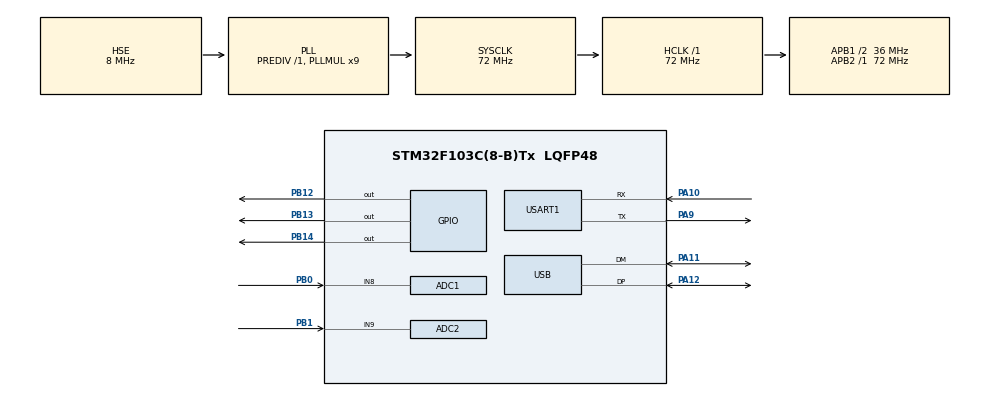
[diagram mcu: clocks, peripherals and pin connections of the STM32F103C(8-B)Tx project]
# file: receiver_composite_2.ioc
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ADC1.Channel-0\#ChannelRegularConversion=ADC_CHANNEL_8
ADC1.NbrOfConversionFlag=1
ADC1.Rank-0\#ChannelRegularConversion=1
ADC1.SamplingTime-0\#ChannelRegularConversion=ADC_SAMPLETIME_1CYCLE_5
ADC1.master=1
ADC2.Channel-0\#ChannelRegularConversion=ADC_CHANNEL_9
ADC2.NbrOfConversionFlag=1
ADC2.Rank-0\#ChannelRegularConversion=1
ADC2.SamplingTime-0\#ChannelRegularConversion=ADC_SAMPLETIME_1CYCLE_5
IWDG.Prescaler=IWDG_PRESCALER_32
IWDG.Reload=1299
Mcu.Family=STM32F1
Mcu.Name=STM32F103C(8-B)Tx
Mcu.Package=LQFP48
NVIC.PriorityGroup=NVIC_PRIORITYGROUP_4
NVIC.TIM2_IRQn=true\:1\:0\:true\:false\:true\:true\:true\:true
NVIC.USART1_IRQn=true\:0\:0\:false\:false\:true\:true\:true\:true
NVIC.USB_LP_CAN1_RX0_IRQn=true\:0\:0\:false\:false\:true\:false\:true\:true
PA10.Mode=Asynchronous
PA10.Signal=USART1_RX
PA11.Mode=Device
PA11.Signal=USB_DM
PA12.Mode=Device
PA12.Signal=USB_DP
PA13.Mode=Serial_Wire
PA13.Signal=SYS_JTMS-SWDIO
PA14.Mode=Serial_Wire
PA14.Signal=SYS_JTCK-SWCLK
PA9.Mode=Asynchronous
PA9.Signal=USART1_TX
PB0.Signal=ADCx_IN8
PB1.Signal=ADCx_IN9
PB12.Signal=GPIO_Output
PB13.Signal=GPIO_Output
PB14.Signal=GPIO_Output
PD0-OSC_IN.Mode=HSE-External-Oscillator
PD0-OSC_IN.Signal=RCC_OSC_IN
PD1-OSC_OUT.Mode=HSE-External-Oscillator
PD1-OSC_OUT.Signal=RCC_OSC_OUT
ProjectManager.HeapSize=0x200
ProjectManager.StackSize=0x400
ProjectManager.TargetToolchain=STM32CubeIDE
RCC.ADCPresc=RCC_ADCPCLK2_DIV6
RCC.AHBFreq_Value=72000000
RCC.APB1CLKDivider=RCC_HCLK_DIV2
RCC.APB1Freq_Value=36000000
RCC.APB1TimFreq_Value=72000000
RCC.APB2Freq_Value=72000000
RCC.APB2TimFreq_Value=72000000
RCC.HCLKFreq_Value=72000000
RCC.PLLMUL=RCC_PLL_MUL9
RCC.SYSCLKFreq_VALUE=72000000
RCC.SYSCLKSource=RCC_SYSCLKSOURCE_PLLCLK
RCC.USBFreq_Value=48000000
RCC.USBPrescaler=RCC_USBCLKSOURCE_PLL_DIV1_5
SH.ADCx_IN8.0=ADC1_IN8,IN8
SH.ADCx_IN9.0=ADC2_IN9,IN9
TIM2.Period=1000
TIM2.Prescaler=7199
USART1.VirtualMode=VM_ASYNC
USB_DEVICE.CLASS_NAME_FS=CDC
USB_DEVICE.VirtualMode=Cdc
USB_DEVICE.VirtualModeFS=Cdc_FS
VP_CRC_VS_CRC.Mode=CRC_Activate
VP_IWDG_VS_IWDG.Mode=IWDG_Activate
VP_TIM2_VS_ClockSourceINT.Mode=Internal
VP_USB_DEVICE_VS_USB_DEVICE_CDC_FS.Mode=CDC_FS
board=custom

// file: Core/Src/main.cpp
/* USER CODE BEGIN Header */
/**
  ******************************************************************************
  * @file           : main.c
  * @brief          : Main program body
  ******************************************************************************
  * @attention
  *
  * Copyright (c) 2023 STMicroelectronics.
  * All rights reserved.
  *
  * This software is licensed under terms that can be found in the LICENSE file
  * in the root directory of this software component.
  * If no LICENSE file comes with this software, it is provided AS-IS.
  *
  ******************************************************************************
  */
/* USER CODE END Header */
#include "main.h"
#include "usb_device.h"

/* USER CODE BEGIN Includes */
#include "usbd_cdc_if.h"
#include "crypto.h"
#include "stdio.h"
#include <string>
#include "rs.hpp"
using namespace std;

#include <stdbool.h>
#include <stdlib.h>
#include <stdint.h>
/* USER CODE END Includes */

/* USER CODE BEGIN PD */
//#define USB_TX_BUF_SIZE 1024 // Can Transmit max of 256 chars over USB
#define USB_TX_BUF_SIZE 129 // Can Transmit max of 256 chars over USB
#define UART_RX_BUF_SIZE 1  // Receive each UART byte one at a time

#define AES_BLOCK_LENGTH 8
#define PLAINTEXT_LENGTH  16
#define ECC_LENGTH 12
#define RS_MESSAGE_LENGTH 129
/* USER CODE END PD */

ADC_HandleTypeDef hadc1;
ADC_HandleTypeDef hadc2;

CRC_HandleTypeDef hcrc;

IWDG_HandleTypeDef hiwdg;

TIM_HandleTypeDef htim2;

UART_HandleTypeDef huart1;

/* USER CODE BEGIN PV */
char usbTxBuf[USB_TX_BUF_SIZE];
uint8_t UART1_rxBuffer[UART_RX_BUF_SIZE] = {0};

uint32_t adc_reading;
int agc_lvl;

//vars for decoding
uint8_t uart5_byte_1;
uint8_t uart5_byte_2;
uint8_t byte_out;
uint8_t byte_out_nibble_1;
uint8_t byte_out_nibble_2;
uint8_t uart_byte_dummy;

uint8_t current_byte;
uint8_t prev_byte;

uint8_t AES_Key[CRL_AES128_KEY] =
{
	0x00, 0x01, 0x02, 0x03, 0x04, 0x05, 0x06, 0x07,
	0x08, 0x09, 0x0a, 0x0b, 0x0c, 0x0d, 0x0e, 0x0f
};

bool timing_correct_flag;
bool start_decryption_flag = false;

uint8_t count = 1;
int error_code;

int rs_encoded_count = 0;
uint8_t manchester_encoded_buff[2*(RS_MESSAGE_LENGTH + ECC_LENGTH)];
uint8_t manchester_encoded_buff_cpy[2*(RS_MESSAGE_LENGTH + ECC_LENGTH)];
uint8_t rs_encoded_buff[RS_MESSAGE_LENGTH + ECC_LENGTH];

// Reed Solomon decoding variables
char reed_solomon_repaired[RS_MESSAGE_LENGTH];

// AES Decoding variables
uint8_t output_split_ciphertext[8][PLAINTEXT_LENGTH];  // Input plaintext split into 16 byte chunks
uint8_t output_split_plaintext[8][PLAINTEXT_LENGTH];  // Input plaintext split into 16 byte chunks

char output_message[RS_MESSAGE_LENGTH];
uint32_t output_message_length = 0;

RS::ReedSolomon<RS_MESSAGE_LENGTH, ECC_LENGTH> rs; 		        // Reed solomon encoder data structure

int indexing_dummy = 0;

/* USER CODE END PV */

void SystemClock_Config(void);
static void MX_GPIO_Init(void);
static void MX_IWDG_Init(void);
static void MX_ADC1_Init(void);
static void MX_ADC2_Init(void);
static void MX_CRC_Init(void);
static void MX_USART1_UART_Init(void);
static void MX_TIM2_Init(void);
/* USER CODE BEGIN PFP */
void DecodeManchester(void);
string DecryptData(void);
void CombineAES2DArray(uint8_t input_ciphertext[][PLAINTEXT_LENGTH], char output_str[]);
int32_t AESDecrypt2DArray(uint8_t input_ciphertext[][PLAINTEXT_LENGTH], uint8_t output_plaintext[][PLAINTEXT_LENGTH]);

//void SplitStringForAESDecoding(string input_str, uint8_t output_ptr[][PLAINTEXT_LENGTH]);
void SplitStringForAESDecoding(char input_str[], uint8_t output_ptr[][PLAINTEXT_LENGTH]);

int32_t STM32_AES_ECB_Decrypt(uint8_t* InputMessage,
                              uint32_t InputMessageLength,
                              uint8_t *AES256_Key,
                              uint8_t  *OutputMessage,
                              uint32_t *OutputMessageLength);

void SetAGCLevel(int lvl);
void UpdateAGC(uint32_t adc_val_in);
void ResetGlobalVars(void);
/* USER CODE END PFP */

int main(void)
{

  /* MCU Configuration--------------------------------------------------------*/

  /* Reset of all peripherals, Initializes the Flash interface and the Systick. */
  HAL_Init();

  /* Configure the system clock */
  SystemClock_Config();

  /* USER CODE BEGIN SysInit */
  __CRC_CLK_ENABLE();
  /* USER CODE END SysInit */

  /* Initialize all configured peripherals */
  MX_GPIO_Init();
  MX_USB_DEVICE_Init();
  MX_IWDG_Init();
  MX_ADC1_Init();
  MX_ADC2_Init();
  MX_CRC_Init();
  MX_USART1_UART_Init();
  MX_TIM2_Init();
  /* USER CODE BEGIN 2 */
  HAL_UART_Receive_IT(&huart1, UART1_rxBuffer, UART_RX_BUF_SIZE);
  HAL_TIM_Base_Start_IT(&htim2);

  //ResetGlobalVars();

  HAL_Delay(50);

  sprintf(usbTxBuf, "IWDG Reset");
  CDC_Transmit_FS((uint8_t *) usbTxBuf, strlen(usbTxBuf));

  if(HAL_IWDG_Refresh(&hiwdg) != HAL_OK)
  {
		sprintf(usbTxBuf, "IWDG Error");
		CDC_Transmit_FS((uint8_t *) usbTxBuf, strlen(usbTxBuf));

		Error_Handler();
  }
  /* USER CODE END 2 */

  /* Infinite loop */
  /* USER CODE BEGIN WHILE */
  start_decryption_flag = false;
  while (1)
  {
	  if(start_decryption_flag == true)
	  {
		  DecodeManchester();
		  DecryptData();

		  if((output_message[0] == 'L') && (output_message[1] == 'i') && (output_message[2] == 'F'))
		  {
			  //if(rs_encoded_count < 125)
			  if(error_code == 0)
			  {
			  sprintf(usbTxBuf, "%s", output_message);
			  CDC_Transmit_FS((uint8_t *) usbTxBuf, strlen(usbTxBuf));
			  }
		  }

		  //sprintf(usbTxBuf, "\n\rError Code: %d\n\r", error_code);
		  //CDC_Transmit_FS((uint8_t *) usbTxBuf, strlen(usbTxBuf));

		  for(int i = 0; i < RS_MESSAGE_LENGTH; i++) // reset output buffer array
		  {
			  output_message[i] = 0x00;
		  }

/*
		  for(int i = 0; i < 2*(RS_MESSAGE_LENGTH + ECC_LENGTH); i++)
		  {
			  manchester_encoded_buff[i] = 0x00;
		  }
*/

		  start_decryption_flag = false;

		  while(start_decryption_flag == false)
		  {
			  indexing_dummy++;
		  }
	  }
    /* USER CODE END WHILE */

  }
}

void SystemClock_Config(void)
{
  RCC_OscInitTypeDef RCC_OscInitStruct = {0};
  RCC_ClkInitTypeDef RCC_ClkInitStruct = {0};
  RCC_PeriphCLKInitTypeDef PeriphClkInit = {0};

  /** Initializes the RCC Oscillators according to the specified parameters
  * in the RCC_OscInitTypeDef structure.
  */
  RCC_OscInitStruct.OscillatorType = RCC_OSCILLATORTYPE_LSI|RCC_OSCILLATORTYPE_HSE;
  RCC_OscInitStruct.HSEState = RCC_HSE_ON;
  RCC_OscInitStruct.HSEPredivValue = RCC_HSE_PREDIV_DIV1;
  RCC_OscInitStruct.HSIState = RCC_HSI_ON;
  RCC_OscInitStruct.LSIState = RCC_LSI_ON;
  RCC_OscInitStruct.PLL.PLLState = RCC_PLL_ON;
  RCC_OscInitStruct.PLL.PLLSource = RCC_PLLSOURCE_HSE;
  RCC_OscInitStruct.PLL.PLLMUL = RCC_PLL_MUL9;
  if (HAL_RCC_OscConfig(&RCC_OscInitStruct) != HAL_OK)
  {
    Error_Handler();
  }

  /** Initializes the CPU, AHB and APB buses clocks
  */
  RCC_ClkInitStruct.ClockType = RCC_CLOCKTYPE_HCLK|RCC_CLOCKTYPE_SYSCLK
                              |RCC_CLOCKTYPE_PCLK1|RCC_CLOCKTYPE_PCLK2;
  RCC_ClkInitStruct.SYSCLKSource = RCC_SYSCLKSOURCE_PLLCLK;
  RCC_ClkInitStruct.AHBCLKDivider = RCC_SYSCLK_DIV1;
  RCC_ClkInitStruct.APB1CLKDivider = RCC_HCLK_DIV2;
  RCC_ClkInitStruct.APB2CLKDivider = RCC_HCLK_DIV1;

  if (HAL_RCC_ClockConfig(&RCC_ClkInitStruct, FLASH_LATENCY_2) != HAL_OK)
  {
    Error_Handler();
  }
  PeriphClkInit.PeriphClockSelection = RCC_PERIPHCLK_ADC|RCC_PERIPHCLK_USB;
  PeriphClkInit.AdcClockSelection = RCC_ADCPCLK2_DIV6;
  PeriphClkInit.UsbClockSelection = RCC_USBCLKSOURCE_PLL_DIV1_5;
  if (HAL_RCCEx_PeriphCLKConfig(&PeriphClkInit) != HAL_OK)
  {
    Error_Handler();
  }
}

static void MX_ADC1_Init(void)
{

  ADC_ChannelConfTypeDef sConfig = {0};

  /** Common config
  */
  hadc1.Instance = ADC1;
  hadc1.Init.ScanConvMode = ADC_SCAN_DISABLE;
  hadc1.Init.ContinuousConvMode = DISABLE;
  hadc1.Init.DiscontinuousConvMode = DISABLE;
  hadc1.Init.ExternalTrigConv = ADC_SOFTWARE_START;
  hadc1.Init.DataAlign = ADC_DATAALIGN_RIGHT;
  hadc1.Init.NbrOfConversion = 1;
  if (HAL_ADC_Init(&hadc1) != HAL_OK)
  {
    Error_Handler();
  }

  /** Configure Regular Channel
  */
  sConfig.Channel = ADC_CHANNEL_8;
  sConfig.Rank = ADC_REGULAR_RANK_1;
  sConfig.SamplingTime = ADC_SAMPLETIME_1CYCLE_5;
  if (HAL_ADC_ConfigChannel(&hadc1, &sConfig) != HAL_OK)
  {
    Error_Handler();
  }

}

static void MX_ADC2_Init(void)
{

  ADC_ChannelConfTypeDef sConfig = {0};

  /** Common config
  */
  hadc2.Instance = ADC2;
  hadc2.Init.ScanConvMode = ADC_SCAN_DISABLE;
  hadc2.Init.ContinuousConvMode = DISABLE;
  hadc2.Init.DiscontinuousConvMode = DISABLE;
  hadc2.Init.ExternalTrigConv = ADC_SOFTWARE_START;
  hadc2.Init.DataAlign = ADC_DATAALIGN_RIGHT;
  hadc2.Init.NbrOfConversion = 1;
  if (HAL_ADC_Init(&hadc2) != HAL_OK)
  {
    Error_Handler();
  }

  /** Configure Regular Channel
  */
  sConfig.Channel = ADC_CHANNEL_9;
  sConfig.Rank = ADC_REGULAR_RANK_1;
  sConfig.SamplingTime = ADC_SAMPLETIME_1CYCLE_5;
  if (HAL_ADC_ConfigChannel(&hadc2, &sConfig) != HAL_OK)
  {
    Error_Handler();
  }

}

static void MX_CRC_Init(void)
{

  hcrc.Instance = CRC;
  if (HAL_CRC_Init(&hcrc) != HAL_OK)
  {
    Error_Handler();
  }

}

static void MX_IWDG_Init(void)
{

  hiwdg.Instance = IWDG;
  hiwdg.Init.Prescaler = IWDG_PRESCALER_32;
  hiwdg.Init.Reload = 1299;
  if (HAL_IWDG_Init(&hiwdg) != HAL_OK)
  {
    Error_Handler();
  }

}

static void MX_TIM2_Init(void)
{

  TIM_ClockConfigTypeDef sClockSourceConfig = {0};
  TIM_MasterConfigTypeDef sMasterConfig = {0};

  htim2.Instance = TIM2;
  htim2.Init.Prescaler = 7199;
  htim2.Init.CounterMode = TIM_COUNTERMODE_UP;
  htim2.Init.Period = 1000;
  htim2.Init.ClockDivision = TIM_CLOCKDIVISION_DIV1;
  htim2.Init.AutoReloadPreload = TIM_AUTORELOAD_PRELOAD_DISABLE;
  if (HAL_TIM_Base_Init(&htim2) != HAL_OK)
  {
    Error_Handler();
  }
  sClockSourceConfig.ClockSource = TIM_CLOCKSOURCE_INTERNAL;
  if (HAL_TIM_ConfigClockSource(&htim2, &sClockSourceConfig) != HAL_OK)
  {
    Error_Handler();
  }
  sMasterConfig.MasterOutputTrigger = TIM_TRGO_RESET;
  sMasterConfig.MasterSlaveMode = TIM_MASTERSLAVEMODE_DISABLE;
  if (HAL_TIMEx_MasterConfigSynchronization(&htim2, &sMasterConfig) != HAL_OK)
  {
    Error_Handler();
  }

}

static void MX_USART1_UART_Init(void)
{

  huart1.Instance = USART1;
  huart1.Init.BaudRate = 115200;
  huart1.Init.WordLength = UART_WORDLENGTH_8B;
  huart1.Init.StopBits = UART_STOPBITS_1;
  huart1.Init.Parity = UART_PARITY_NONE;
  huart1.Init.Mode = UART_MODE_TX_RX;
  huart1.Init.HwFlowCtl = UART_HWCONTROL_NONE;
  huart1.Init.OverSampling = UART_OVERSAMPLING_16;
  if (HAL_UART_Init(&huart1) != HAL_OK)
  {
    Error_Handler();
  }

}

static void MX_GPIO_Init(void)
{
  GPIO_InitTypeDef GPIO_InitStruct = {0};

  /* GPIO Ports Clock Enable */
  __HAL_RCC_GPIOD_CLK_ENABLE();
  __HAL_RCC_GPIOB_CLK_ENABLE();
  __HAL_RCC_GPIOA_CLK_ENABLE();

  /*Configure GPIO pin Output Level */
  HAL_GPIO_WritePin(GPIOB, GPIO_PIN_12|GPIO_PIN_13|GPIO_PIN_14, GPIO_PIN_RESET);

  /*Configure GPIO pins : PB12 PB13 PB14 */
  GPIO_InitStruct.Pin = GPIO_PIN_12|GPIO_PIN_13|GPIO_PIN_14;
  GPIO_InitStruct.Mode = GPIO_MODE_OUTPUT_PP;
  GPIO_InitStruct.Pull = GPIO_NOPULL;
  GPIO_InitStruct.Speed = GPIO_SPEED_FREQ_LOW;
  HAL_GPIO_Init(GPIOB, &GPIO_InitStruct);

}

/* USER CODE BEGIN 4 */
void ResetGlobalVars(void)
{
	for(int i = 0; i < USB_TX_BUF_SIZE; i++)
	{
		usbTxBuf[i] = 0x00;
	}

	for(int i = 0; i < UART_RX_BUF_SIZE; i++)
	{
		UART1_rxBuffer[i] = 0x00;
	}

	count = 1;

	uart5_byte_1 = 0x00;
	uart5_byte_2 = 0x00;
	byte_out = 0x00;
	byte_out_nibble_1 = 0x00;
	byte_out_nibble_2 = 0x00;
	uart_byte_dummy = 0x00;

	current_byte = 0x77;
	prev_byte = 0x77;

	timing_correct_flag = false;

	rs_encoded_count = 0;

	for(int i = 0; i < 2*(RS_MESSAGE_LENGTH + ECC_LENGTH); i++)
	{
		manchester_encoded_buff[i] = 0x00;
		manchester_encoded_buff_cpy[i] = 0x00;
	}

	for(int i = 0; i < RS_MESSAGE_LENGTH + ECC_LENGTH; i++)
	{

		rs_encoded_buff[i] = 0x00;
	}

	start_decryption_flag = false;

	output_message_length = 0;

	error_code = 0;

	for(int i = 0; i < RS_MESSAGE_LENGTH; i++)
	{
		reed_solomon_repaired[i] = 0x00;
	}

	for(int i = 0; i < AES_BLOCK_LENGTH; i++)
	{
		for(int j = 0; j < PLAINTEXT_LENGTH; j++)
		{
			output_split_ciphertext[i][j] = 0x00;
			output_split_plaintext[i][j] = 0x00;
		}
	}

	for(int i = 0; i < RS_MESSAGE_LENGTH; i++)
	{
		output_message[i] = 0x00;
	}
	adc_reading = 0;
	agc_lvl = 0;
}

void UpdateAGC(uint32_t adc_val_in)
{
	//ORIGINAL NUMBERS THAT WORK: 900 -> 1800

	//if((adc_val_in > 1800) && (agc_lvl > 0)) //DC value is too high -> decrease gain
	if((adc_val_in > 2200) && (agc_lvl > 0)) //DC value is too high -> decrease gain
	{
		agc_lvl--;
		SetAGCLevel(agc_lvl);
	}
	//else if((adc_val_in < 1050) && (agc_lvl < 4)) //DC value is too low -> increase gain
	//else if((adc_val_in < 1250) && (agc_lvl < 4)) //DC value is too low -> increase gain
	else if((adc_val_in < 1250) && (agc_lvl < 3)) //DC value is too low -> increase gain
	{
		agc_lvl++;
		SetAGCLevel(agc_lvl);
	}

	//sprintf(usbTxBuf, "\n\rL%d\n\r", agc_lvl);
	//CDC_Transmit_FS((uint8_t *) usbTxBuf, strlen(usbTxBuf));
}

void SetAGCLevel(int lvl)
{
	if(lvl == 1) //Y0
	{
		HAL_GPIO_WritePin(GPIOB, GPIO_PIN_12|GPIO_PIN_13|GPIO_PIN_14, GPIO_PIN_RESET);
	}
	else if(lvl == 2) //Y1
	{
		HAL_GPIO_WritePin(GPIOB, GPIO_PIN_12|GPIO_PIN_13, GPIO_PIN_RESET);
		HAL_GPIO_WritePin(GPIOB, GPIO_PIN_14, GPIO_PIN_SET);
	}
	else if(lvl == 3) //Y2
	{
		HAL_GPIO_WritePin(GPIOB, GPIO_PIN_12|GPIO_PIN_14, GPIO_PIN_RESET);
		HAL_GPIO_WritePin(GPIOB, GPIO_PIN_13, GPIO_PIN_SET);
	}
	else if(lvl == 4) //Y4
	{
		HAL_GPIO_WritePin(GPIOB, GPIO_PIN_13|GPIO_PIN_14, GPIO_PIN_RESET);
		HAL_GPIO_WritePin(GPIOB, GPIO_PIN_12, GPIO_PIN_SET);
	}
	else if(lvl == 5) //Y6
	{
		HAL_GPIO_WritePin(GPIOB, GPIO_PIN_14, GPIO_PIN_RESET);
		HAL_GPIO_WritePin(GPIOB, GPIO_PIN_12|GPIO_PIN_13, GPIO_PIN_SET);
	}
	else //Y3 (Lowest gain level)
	{
		HAL_GPIO_WritePin(GPIOB, GPIO_PIN_13|GPIO_PIN_14, GPIO_PIN_SET);
		HAL_GPIO_WritePin(GPIOB, GPIO_PIN_12, GPIO_PIN_RESET);
	}
}

void DecodeManchester(void)
{
	memcpy(manchester_encoded_buff_cpy, manchester_encoded_buff, sizeof(manchester_encoded_buff_cpy));

	/*
	for(int i = 0; i < 2*(RS_MESSAGE_LENGTH + ECC_LENGTH); i++)
	{
		manchester_encoded_buff[i] = 0x00;
	}
	*/

	byte_out = 0x00;
	byte_out_nibble_1 = 0x00;
	byte_out_nibble_2 = 0x00;

	//decoding manchester
	for(int i = 0; i < RS_MESSAGE_LENGTH + ECC_LENGTH; i++)
	{
		byte_out = 0x00;
		byte_out_nibble_1 = 0x00;
		byte_out_nibble_2 = 0x00;

		uart5_byte_1 = manchester_encoded_buff_cpy[2*i];
		uart5_byte_2 = manchester_encoded_buff_cpy[2*i + 1];

		if((uart5_byte_1 & 0xC0) == 0x40) // 8th bit is rising edge = one
		{
			byte_out_nibble_1 = byte_out_nibble_1 | 0x08;     // Turn 8th bit to 1
		}
		if((uart5_byte_1 & 0x30) == 0x10) // 7th bit is rising edge = one
		{
			byte_out_nibble_1 = byte_out_nibble_1 | 0x04;     // Turn 7th bit to 1
		}
		if((uart5_byte_1 & 0x0C) == 0x04) // 6th bit is rising edge = one
		{
			byte_out_nibble_1 = byte_out_nibble_1 | 0x02;     // Turn 6th bit to 1
		}
		if((uart5_byte_1 & 0x03) == 0x01) // 5th bit is rising edge = one
		{
			byte_out_nibble_1 = byte_out_nibble_1 | 0x01;     // Turn 5th bit to 1
		}

		if((uart5_byte_2 & 0xC0) == 0x40) // 4th bit is rising edge = one
		{
			byte_out_nibble_2 = byte_out_nibble_2 | 0x08;     // Turn 4th bit to 1
		}
		if((uart5_byte_2 & 0x30) == 0x10) // 3rd bit is rising edge = one
		{
			byte_out_nibble_2 = byte_out_nibble_2 | 0x04;     // Turn 3rd bit to 1
		}
		if((uart5_byte_2 & 0x0C) == 0x04) // 2nd bit is rising edge = one
		{
			byte_out_nibble_2 = byte_out_nibble_2 | 0x02;     // Turn 2nd bit to 1
		}
		if((uart5_byte_2 & 0x03) == 0x01) // 1st bit is rising edge = one
		{
			byte_out_nibble_2 = byte_out_nibble_2 | 0x01;     // Turn 1st bit to 1
		}

		rs_encoded_buff[i] = (byte_out_nibble_1<<4) | byte_out_nibble_2;
	}
}

string DecryptData(void)
{
	// NOTE: This returns 0 if it worked, 1 if there was problem (too many corrupted bits
	error_code = rs.Decode(rs_encoded_buff, reed_solomon_repaired);       // Corrects bits errors - output is 129 bytes
	SplitStringForAESDecoding(reed_solomon_repaired, output_split_ciphertext); // Split message into 16 byte chunks and removes the termininating '\0' char
	//SplitStringForAESDecoding((string)reed_solomon_repaired, output_split_ciphertext); // Split message into 16 byte chunks and removes the termininating '\0' char
	AESDecrypt2DArray(output_split_ciphertext, output_split_plaintext);        // Decrypt each AES block
	CombineAES2DArray(output_split_plaintext, output_message);                 // Put all decrypted AES blocks into single char array

	return string(output_message);
}

//void SplitStringForAESDecoding(string input_str, uint8_t output_ptr[][PLAINTEXT_LENGTH])
void SplitStringForAESDecoding(char input_str[], uint8_t output_ptr[][PLAINTEXT_LENGTH])
{
	//int n = sizeof(input_str);
	//int n = 128;

	//if((n <= AES_BLOCK_LENGTH * PLAINTEXT_LENGTH) && (start_decrytion_flag == true))
	//{
		for(int i = 0; i < AES_BLOCK_LENGTH; i++)
		{
			for(int j = 0; j < PLAINTEXT_LENGTH; j++)
			{
				//if(((PLAINTEXT_LENGTH*i) + j) < n)
				//{
					output_ptr[i][j] = input_str[(PLAINTEXT_LENGTH*i) + j];
					indexing_dummy = (PLAINTEXT_LENGTH*i) + j;
				//}
			}
		}
	//}
}

int32_t STM32_AES_ECB_Decrypt(uint8_t* InputMessage,
                              uint32_t InputMessageLength,
                              uint8_t  *AES256_Key,
                              uint8_t  *OutputMessage,
                              uint32_t *OutputMessageLength)
{
  AESECBctx_stt AESctx;

  uint32_t error_status = AES_SUCCESS;

  int32_t outputLength = 0;

  /* Set flag field to default value */
  AESctx.mFlags = E_SK_DEFAULT;

  /* Set key size to 32 (corresponding to AES-256) */
  //AESctx.mKeySize = 32;
  AESctx.mKeySize = 16;

  /* Initialize the operation, by passing the key.
   * Third parameter is NULL because ECB doesn't use any IV */
  error_status = AES_ECB_Decrypt_Init(&AESctx, AES256_Key, NULL );

  /* check for initialization errors */
  if (error_status == AES_SUCCESS)
  {
    /* Decrypt Data */
    error_status = AES_ECB_Decrypt_Append(&AESctx,
                                          InputMessage,
                                          InputMessageLength,
                                          OutputMessage,
                                          &outputLength);

    if (error_status == AES_SUCCESS)
    {
      /* Write the number of data written*/
      *OutputMessageLength = outputLength;
      /* Do the Finalization */
      error_status = AES_ECB_Decrypt_Finish(&AESctx, OutputMessage + *OutputMessageLength, &outputLength);
      /* Add data written to the information to be returned */
      *OutputMessageLength += outputLength;
    }
  }

  return error_status;
}

int32_t AESDecrypt2DArray(uint8_t input_ciphertext[][PLAINTEXT_LENGTH], uint8_t output_plaintext[][PLAINTEXT_LENGTH])
{
	int32_t encrypt_status_temp;
	for(int i = 0; i < AES_BLOCK_LENGTH; i++)
	{
		encrypt_status_temp = STM32_AES_ECB_Decrypt(input_ciphertext[i], PLAINTEXT_LENGTH, AES_Key, output_plaintext[i], &output_message_length);
		if(encrypt_status_temp != AES_SUCCESS)
		{
			return encrypt_status_temp;
		}
	}
	return AES_SUCCESS;
}

void CombineAES2DArray(uint8_t input_ciphertext[][PLAINTEXT_LENGTH], char output_str[])
{
	for(int i = 0; i < AES_BLOCK_LENGTH; i++)
	{
		for(int j = 0; j < PLAINTEXT_LENGTH; j++)
		{
			output_str[(PLAINTEXT_LENGTH*i) + j] = (char)input_ciphertext[i][j];
		}
	}

	output_str[RS_MESSAGE_LENGTH-1] = '\0'; // make the last (129th) byte null terminiating char
}

void HAL_TIM_PeriodElapsedCallback(TIM_HandleTypeDef *htim)
{
	if(HAL_IWDG_Refresh(&hiwdg) != HAL_OK)
	{
		sprintf(usbTxBuf, "IWDG Error");
		CDC_Transmit_FS((uint8_t *) usbTxBuf, strlen(usbTxBuf));

		Error_Handler();
	}

	HAL_ADC_Start(&hadc1);
	HAL_ADC_PollForConversion(&hadc1, 1);
	adc_reading = HAL_ADC_GetValue(&hadc1);

	UpdateAGC(adc_reading);

	//sprintf(usbTxBuf, "\n\r%d", (int)adc_reading);
	//CDC_Transmit_FS((uint8_t *) usbTxBuf, strlen(usbTxBuf));
}

void HAL_UART_RxCpltCallback(UART_HandleTypeDef *huart)
{
	//HAL_UART_Receive_IT(&huart1, UART1_rxBuffer, 2);
	HAL_UART_Receive_IT(&huart1, UART1_rxBuffer, UART_RX_BUF_SIZE);

	prev_byte = current_byte;
	current_byte = UART1_rxBuffer[0];

	if(current_byte == 0x00)
	{
		if(prev_byte == 0x00) // correct timing
		{
			rs_encoded_count = 0;
			return;
		}
		else // incorrect timing
		{
			return;
		}
	}
	//if(rs_encoded_count < 2*(ECC_LENGTH + RS_MESSAGE_LENGTH))
	if(rs_encoded_count < 2*(ECC_LENGTH + RS_MESSAGE_LENGTH))
	{
		manchester_encoded_buff[rs_encoded_count] = current_byte;
		rs_encoded_count = rs_encoded_count + 1;
	}
	//if(rs_encoded_count == 2*(ECC_LENGTH + RS_MESSAGE_LENGTH))
	if(rs_encoded_count >= 2*(ECC_LENGTH + RS_MESSAGE_LENGTH))
	{
		start_decryption_flag = true;
		rs_encoded_count = 0;
	}
	else
	{
		start_decryption_flag = false;
	}
}
/* USER CODE END 4 */

void Error_Handler(void)
{
  __disable_irq();
  while (1)
  {
  }
}
